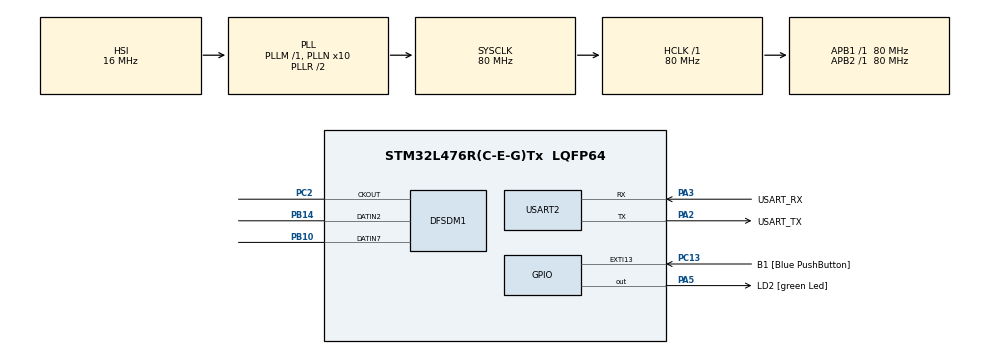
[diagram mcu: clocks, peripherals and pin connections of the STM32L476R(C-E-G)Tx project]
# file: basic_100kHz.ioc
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DFSDM1.Divider=25
DFSDM1.DmaMode_reg_FIL0=ENABLE
DFSDM1.DmaMode_reg_FIL1=ENABLE
DFSDM1.DmaMode_reg_FIL2=ENABLE
DFSDM1.FastMode_reg_FIL0=ENABLE
DFSDM1.FastMode_reg_FIL1=ENABLE
DFSDM1.FastMode_reg_FIL2=ENABLE
DFSDM1.Filter_regChannel_FIL0=DFSDM_CHANNEL_2
DFSDM1.Filter_regChannel_FIL1=DFSDM_CHANNEL_7
DFSDM1.Filter_regChannel_FIL2=DFSDM_CHANNEL_1
DFSDM1.Fosr_FIL0=32
DFSDM1.Fosr_FIL1=32
DFSDM1.Fosr_FIL2=32
DFSDM1.Oversampling_CH1=10
DFSDM1.Oversampling_CH2=10
DFSDM1.Oversampling_CH7=10
DFSDM1.RightBitShift_CH1=0x02
DFSDM1.RightBitShift_CH2=0x02
DFSDM1.RightBitShift_CH7=0x02
DFSDM1.SincOrder_FIL0=DFSDM_FILTER_SINC3_ORDER
DFSDM1.SincOrder_FIL1=DFSDM_FILTER_SINC3_ORDER
DFSDM1.SincOrder_FIL2=DFSDM_FILTER_SINC3_ORDER
DFSDM1.Type_spi_CH1=DFSDM_CHANNEL_SPI_FALLING
DFSDM1.Type_spi_CH7=DFSDM_CHANNEL_SPI_FALLING
Dma.DFSDM1_FLT0.0.Direction=DMA_PERIPH_TO_MEMORY
Dma.DFSDM1_FLT0.0.Instance=DMA1_Channel4
Dma.DFSDM1_FLT0.0.MemDataAlignment=DMA_MDATAALIGN_WORD
Dma.DFSDM1_FLT0.0.MemInc=DMA_MINC_ENABLE
Dma.DFSDM1_FLT0.0.Mode=DMA_CIRCULAR
Dma.DFSDM1_FLT0.0.PeriphDataAlignment=DMA_PDATAALIGN_WORD
Dma.DFSDM1_FLT0.0.PeriphInc=DMA_PINC_DISABLE
Dma.DFSDM1_FLT0.0.Priority=DMA_PRIORITY_MEDIUM
Dma.DFSDM1_FLT1.1.Direction=DMA_PERIPH_TO_MEMORY
Dma.DFSDM1_FLT1.1.Instance=DMA1_Channel5
Dma.DFSDM1_FLT1.1.MemDataAlignment=DMA_MDATAALIGN_WORD
Dma.DFSDM1_FLT1.1.MemInc=DMA_MINC_ENABLE
Dma.DFSDM1_FLT1.1.Mode=DMA_CIRCULAR
Dma.DFSDM1_FLT1.1.PeriphDataAlignment=DMA_PDATAALIGN_WORD
Dma.DFSDM1_FLT1.1.PeriphInc=DMA_PINC_DISABLE
Dma.DFSDM1_FLT1.1.Priority=DMA_PRIORITY_MEDIUM
Dma.DFSDM1_FLT2.2.Direction=DMA_PERIPH_TO_MEMORY
Dma.DFSDM1_FLT2.2.Instance=DMA1_Channel6
Dma.DFSDM1_FLT2.2.MemDataAlignment=DMA_MDATAALIGN_WORD
Dma.DFSDM1_FLT2.2.MemInc=DMA_MINC_ENABLE
Dma.DFSDM1_FLT2.2.Mode=DMA_CIRCULAR
Dma.DFSDM1_FLT2.2.PeriphDataAlignment=DMA_PDATAALIGN_WORD
Dma.DFSDM1_FLT2.2.PeriphInc=DMA_PINC_DISABLE
Dma.DFSDM1_FLT2.2.Priority=DMA_PRIORITY_MEDIUM
Dma.Request0=DFSDM1_FLT0
Dma.Request1=DFSDM1_FLT1
Dma.Request2=DFSDM1_FLT2
Mcu.Family=STM32L4
Mcu.Name=STM32L476R(C-E-G)Tx
Mcu.Package=LQFP64
NVIC.DMA1_Channel4_IRQn=true\:0\:0\:false\:false\:true\:false
NVIC.DMA1_Channel5_IRQn=true\:0\:0\:false\:false\:true\:false
NVIC.DMA1_Channel6_IRQn=true\:0\:0\:false\:false\:true\:false
NVIC.EXTI15_10_IRQn=true\:0\:0\:false\:false\:true\:true
NVIC.PriorityGroup=NVIC_PRIORITYGROUP_4
PA13\ (JTMS-SWDIO).GPIO_Label=TMS
PA13\ (JTMS-SWDIO).Mode=Serial_Wire
PA13\ (JTMS-SWDIO).Signal=SYS_JTMS-SWDIO
PA14\ (JTCK-SWCLK).GPIO_Label=TCK
PA14\ (JTCK-SWCLK).Mode=Serial_Wire
PA14\ (JTCK-SWCLK).Signal=SYS_JTCK-SWCLK
PA2.GPIO_Label=USART_TX
PA2.GPIO_Mode=GPIO_MODE_AF_PP
PA2.GPIO_PuPd=GPIO_NOPULL
PA2.GPIO_Speed=GPIO_SPEED_FREQ_VERY_HIGH
PA2.Mode=Asynchronous
PA2.Signal=USART2_TX
PA3.GPIO_Label=USART_RX
PA3.GPIO_Mode=GPIO_MODE_AF_PP
PA3.GPIO_PuPd=GPIO_NOPULL
PA3.GPIO_Speed=GPIO_SPEED_FREQ_VERY_HIGH
PA3.Mode=Asynchronous
PA3.Signal=USART2_RX
PA5.GPIO_Label=LD2 [green Led]
PA5.GPIO_ModeDefaultOutputPP=GPIO_MODE_OUTPUT_PP
PA5.GPIO_PuPd=GPIO_NOPULL
PA5.GPIO_Speed=GPIO_SPEED_FREQ_LOW
PA5.Signal=GPIO_Output
PB10.Signal=S_DATAIN7DFSDM1
PB14.Signal=S_DATAIN2DFSDM1
PB3\ (JTDO-TRACESWO).GPIO_Label=SWO
PB3\ (JTDO-TRACESWO).Signal=SYS_JTDO-SWO
PC13.GPIO_Label=B1 [Blue PushButton]
PC13.GPIO_ModeDefaultEXTI=GPIO_MODE_IT_FALLING
PC13.GPIO_PuPd=GPIO_NOPULL
PC13.Signal=GPXTI13
PC14-OSC32_IN\ (PC14).Signal=RCC_OSC32_IN
PC15-OSC32_OUT\ (PC15).Signal=RCC_OSC32_OUT
PC2.Signal=S_CKOUTDFSDM1
PH0-OSC_IN\ (PH0).Signal=RCC_OSC_IN
PH1-OSC_OUT\ (PH1).Signal=RCC_OSC_OUT
ProjectManager.HeapSize=0x200
ProjectManager.StackSize=0x400
ProjectManager.TargetToolchain=TrueSTUDIO
RCC.ADCFreq_Value=64000000
RCC.AHBFreq_Value=80000000
RCC.APB1Freq_Value=80000000
RCC.APB1TimFreq_Value=80000000
RCC.APB2Freq_Value=80000000
RCC.APB2TimFreq_Value=80000000
RCC.CortexFreq_Value=80000000
RCC.HCLKFreq_Value=80000000
RCC.HSE_VALUE=8000000
RCC.HSI_VALUE=16000000
RCC.LSE_VALUE=32768
RCC.MSI_VALUE=4000000
RCC.PLLN=10
RCC.PLLSourceVirtual=RCC_PLLSOURCE_HSI
RCC.PREFETCH_ENABLE=1
RCC.SYSCLKFreq_VALUE=80000000
RCC.SYSCLKSource=RCC_SYSCLKSOURCE_PLLCLK
RCC.USBFreq_Value=64000000
RCC.VCOOutputFreq_Value=160000000
SH.S_CKOUTDFSDM1.0=DFSDM1_CKOUT,PDM_SPI_input_from_ch2_and_internal_clock
SH.S_CKOUTDFSDM1.1=DFSDM1_CKOUT,CKOUT
SH.S_CKOUTDFSDM1.2=DFSDM1_CKOUT,PDM_SPI_input_from_ch7_and_internal_clock
SH.S_CKOUTDFSDM1.3=DFSDM1_CKOUT,PDM_SPI_Input_from_ch12_and_Internal_Clock
SH.S_DATAIN2DFSDM1.0=DFSDM1_DATIN2,PDM_SPI_input_from_ch2_and_internal_clock
SH.S_DATAIN2DFSDM1.1=DFSDM1_DATIN2,PDM_SPI_Input_from_ch12_and_Internal_Clock
SH.S_DATAIN7DFSDM1.0=DFSDM1_DATIN7,PDM_SPI_input_from_ch7_and_internal_clock
USART2.VirtualMode-Asynchronous=VM_ASYNC
USART2.WordLength=WORDLENGTH_8B
board=NUCLEO-L476RG

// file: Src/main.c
/**
  ******************************************************************************
  * @file           : main.c
  * @brief          : Main program body
  ******************************************************************************
  ** This notice applies to any and all portions of this file
  * that are not between comment pairs USER CODE BEGIN and
  * USER CODE END. Other portions of this file, whether
  * inserted by the user or by software development tools
  * are owned by their respective copyright owners.
  *
  * COPYRIGHT(c) 2018 STMicroelectronics
  *
  * Redistribution and use in source and binary forms, with or without modification,
  * are permitted provided that the following conditions are met:
  *   1. Redistributions of source code must retain the above copyright notice,
  *      this list of conditions and the following disclaimer.
  *   2. Redistributions in binary form must reproduce the above copyright notice,
  *      this list of conditions and the following disclaimer in the documentation
  *      and/or other materials provided with the distribution.
  *   3. Neither the name of STMicroelectronics nor the names of its contributors
  *      may be used to endorse or promote products derived from this software
  *      without specific prior written permission.
  *
  * THIS SOFTWARE IS PROVIDED BY THE COPYRIGHT HOLDERS AND CONTRIBUTORS "AS IS"
  * AND ANY EXPRESS OR IMPLIED WARRANTIES, INCLUDING, BUT NOT LIMITED TO, THE
  * IMPLIED WARRANTIES OF MERCHANTABILITY AND FITNESS FOR A PARTICULAR PURPOSE ARE
  * DISCLAIMED. IN NO EVENT SHALL THE COPYRIGHT HOLDER OR CONTRIBUTORS BE LIABLE
  * FOR ANY DIRECT, INDIRECT, INCIDENTAL, SPECIAL, EXEMPLARY, OR CONSEQUENTIAL
  * DAMAGES (INCLUDING, BUT NOT LIMITED TO, PROCUREMENT OF SUBSTITUTE GOODS OR
  * SERVICES; LOSS OF USE, DATA, OR PROFITS; OR BUSINESS INTERRUPTION) HOWEVER
  * CAUSED AND ON ANY THEORY OF LIABILITY, WHETHER IN CONTRACT, STRICT LIABILITY,
  * OR TORT (INCLUDING NEGLIGENCE OR OTHERWISE) ARISING IN ANY WAY OUT OF THE USE
  * OF THIS SOFTWARE, EVEN IF ADVISED OF THE POSSIBILITY OF SUCH DAMAGE.
  *
  ******************************************************************************
  */
#include "main.h"
#include "stm32l4xx_hal.h"
#include "dfsdm.h"
#include "dma.h"
#include "usart.h"
#include "gpio.h"

/* USER CODE BEGIN Includes */
#include "math.h"
#include "stdbool.h"
#include "arm_math.h"
/* USER CODE END Includes */

/* USER CODE BEGIN PV */
/* Private variables ---------------------------------------------------------*/

// Flags to indicate ISR to copy data from buffer to PCM data store for FFT
char M1[] = "M1";    // MEMS mic 1

#ifdef M2_MULTIPREX
  char M2[] = "M2A";  // MEMS mic 2 on the same PDM line as M1 uses.
#else
  char M2[] = "M2B";  // MEMS mic 2 on the other PDM line
#endif

char *mic_select;
bool flag_m1 = true;
bool flag_m2 = true;

// Audio sample rate and period
float sample_rate;
float sample_period;

// DMA peripheral to memory buffer
int32_t buf_m1[FFT_SAMPLES] = { 0 };
int32_t buf_m2[FFT_SAMPLES] = { 0 };

// PCM data store for further processing (FFT)
int32_t pcm_m1[FFT_SAMPLES] = { 0 };
int32_t pcm_m2[FFT_SAMPLES] = { 0 };

// FFT
arm_rfft_fast_instance_f32 S;
float32_t fft_input[FFT_SAMPLES] = { 0.0f };
float32_t fft_hanning[FFT_SAMPLES] = { 0.0f };
float32_t fft_output[FFT_SAMPLES] = { 0.0f };
float fft_magnitude[FFT_SAMPLES / 2] = { 0.0f };
float fft_db[FFT_SAMPLES / 2] = { 0.0f };
float fft_frequency[FFT_SAMPLES / 2] = { 0.0f };
float fft_window[FFT_SAMPLES] = { 0.0f };
const float WINDOW_SCALE = 2.0f * M_PI / (float) FFT_SAMPLES;

// UART output flag
bool output_result = false;
/* USER CODE END PV */

void SystemClock_Config(void);

/* USER CODE BEGIN PFP */
/* Private function prototypes -----------------------------------------------*/

/* USER CODE END PFP */

/* USER CODE BEGIN 0 */
void fft(void) {
  // Windowing
  arm_mult_f32(fft_input, fft_window, fft_input, FFT_SAMPLES);
  for(uint32_t i = 0; i < FFT_SAMPLES; i++) {
    fft_hanning[i] = fft_input[i];
  }

  // Execute FFT
  // Note: this function modifies fft_input as well.
  arm_rfft_fast_f32(&S, fft_input, fft_output, 0);

  // Calculate magnitude
  arm_cmplx_mag_f32(fft_output, fft_magnitude, FFT_SAMPLES / 2);

  // Normalization (Unitary transformation) of magnitude
  arm_scale_f32(fft_magnitude, 1.0f / sqrtf((float) FFT_SAMPLES), fft_magnitude,
      FFT_SAMPLES / 2);

  // AC coupling
  for (uint32_t i = 0; i < FFT_SAMPLES / 2; i++) {
    if (*(fft_frequency + i) < FFT_AC_COUPLING_HZ)
      fft_magnitude[i] = 1.0f;
    else
      break;
  }

  float inv_dB_base_mag = 1.0f / 1.0f;
  for (uint32_t i = 0; i < FFT_SAMPLES / 2; i++)
    fft_db[i] = 10.0f * log10f(fft_magnitude[i] * inv_dB_base_mag);

  // Calculate max magnitude
  float mag_max, frq_max;
  uint32_t maxIndex;
  arm_max_f32(fft_magnitude, FFT_SAMPLES / 2, &mag_max, &maxIndex);
  frq_max = *(fft_frequency + maxIndex);

  // Output result to UART when user button is pressed
  if (output_result) {
    printf("\nMEMS mic: %s\n", mic_select);
    printf("Frequency at max magnitude: %.1f, Max magnitude: %f\n", frq_max,
        mag_max);
    printf("Frequency(Hz),Magnitude,Magnitude(dB)\n");
    // FFT
    for (uint32_t i = 0; i < FFT_SAMPLES / 2; i++) {
      printf("%.1f,%f,%f\n", fft_frequency[i], fft_magnitude[i], fft_db[i]);
    }
    printf("\n");
    // Raw PCM data
    printf("Index,Amplitude\n");
    if (mic_select == M1) {
      for (uint32_t i = 0; i < FFT_SAMPLES; i++) {
        printf("%lu,%ld\n", i, pcm_m1[i]);
      }
    } else {
      for (uint32_t i = 0; i < FFT_SAMPLES; i++) {
        printf("%lu,%ld\n", i, pcm_m2[i]);
      }
    }
    printf("EORAW\n");
    // Filtered PCM data (e.g., Hanning Window)
    printf("Index,Amplitude\n");
    for (uint32_t i = 0; i < FFT_SAMPLES; i++) {
      printf("%lu,%f\n", i, fft_hanning[i]);
    }
    printf("EOFLT\n");
    HAL_GPIO_WritePin(LD2_GPIO_Port, LD2_Pin, GPIO_PIN_RESET);
    output_result = false;
  }
}
/* USER CODE END 0 */

int main(void)
{

  /* MCU Configuration----------------------------------------------------------*/

  /* Reset of all peripherals, Initializes the Flash interface and the Systick. */
  HAL_Init();

  /* Configure the system clock */
  SystemClock_Config();

  /* Initialize all configured peripherals */
  MX_GPIO_Init();
  MX_DMA_Init();
  MX_USART2_UART_Init();
  MX_DFSDM1_Init();
  /* USER CODE BEGIN 2 */

  // DMA from DFSDM to buf_m1
  if (HAL_DFSDM_FilterRegularStart_DMA(&hdfsdm1_filter0, buf_m1, FFT_SAMPLES)
      != HAL_OK) {
    Error_Handler();
  }
#ifdef M2_MULTIPREX
  // DMA from DFSDM to buf_m2
  if (HAL_DFSDM_FilterRegularStart_DMA(&hdfsdm1_filter2, buf_m2, FFT_SAMPLES)
      != HAL_OK) {
    Error_Handler();
  }
#else
  // DMA from DFSDM to buf_m2
  if (HAL_DFSDM_FilterRegularStart_DMA(&hdfsdm1_filter1, buf_m2, FFT_SAMPLES)
      != HAL_OK) {
    Error_Handler();
  }
#endif

  // FFT sample rate
  sample_rate = SystemCoreClock / hdfsdm1_channel2.Init.OutputClock.Divider
      / hdfsdm1_filter0.Init.FilterParam.Oversampling
      / hdfsdm1_filter0.Init.FilterParam.IntOversampling;

  // Output basic info
  printf("/// Audio Spectrum Analyzer ///\n\n");
  printf("Sampling rate: %4.1f(kHz)\n", (float) sample_rate / 1000.0f);
  sample_period = 1.0f / sample_rate * FFT_SAMPLES;
  printf("Sampling period: %.1f(msec), Samples per period: %ld\n\n",
      sample_period * 1000.0f, FFT_SAMPLES);
  printf("Push USER button to output single-shot FFT\n");

  // Hanning window
  for (uint32_t i = 0; i < FFT_SAMPLES; i++) {
    fft_window[i] = 0.5f - 0.5f * arm_cos_f32((float)i * WINDOW_SCALE);
  }

  for (uint32_t i = 0; i < FFT_SAMPLES / 2; i++) {
    fft_frequency[i] = (float)i * (float)sample_rate / (float)FFT_SAMPLES;
  }

  // FFT initialization
  arm_rfft_fast_init_f32(&S, FFT_SAMPLES);
  /* USER CODE END 2 */

  /* Infinite loop */
  /* USER CODE BEGIN WHILE */
  while (1) {

    // Wait for next PCM samples from M1
    if (!flag_m1) {
      for (uint32_t i = 0; i < FFT_SAMPLES; i++) {
        fft_input[i] = (float) pcm_m1[i];
      }
      mic_select = M1;
      fft();
      flag_m1 = true;
    }
    // Wait for next PCM samples from M2
    if (!flag_m2) {
      for (uint32_t i = 0; i < FFT_SAMPLES; i++) {
        fft_input[i] = (float) pcm_m2[i];
      }
      mic_select = M2;
      fft();
      flag_m2 = true;
    }
  /* USER CODE END WHILE */

  }

}

void SystemClock_Config(void)
{

  RCC_OscInitTypeDef RCC_OscInitStruct;
  RCC_ClkInitTypeDef RCC_ClkInitStruct;
  RCC_PeriphCLKInitTypeDef PeriphClkInit;

    /**Initializes the CPU, AHB and APB busses clocks
    */
  RCC_OscInitStruct.OscillatorType = RCC_OSCILLATORTYPE_HSI;
  RCC_OscInitStruct.HSIState = RCC_HSI_ON;
  RCC_OscInitStruct.HSICalibrationValue = 16;
  RCC_OscInitStruct.PLL.PLLState = RCC_PLL_ON;
  RCC_OscInitStruct.PLL.PLLSource = RCC_PLLSOURCE_HSI;
  RCC_OscInitStruct.PLL.PLLM = 1;
  RCC_OscInitStruct.PLL.PLLN = 10;
  RCC_OscInitStruct.PLL.PLLP = RCC_PLLP_DIV7;
  RCC_OscInitStruct.PLL.PLLQ = RCC_PLLQ_DIV2;
  RCC_OscInitStruct.PLL.PLLR = RCC_PLLR_DIV2;
  if (HAL_RCC_OscConfig(&RCC_OscInitStruct) != HAL_OK)
  {
    _Error_Handler(__FILE__, __LINE__);
  }

    /**Initializes the CPU, AHB and APB busses clocks
    */
  RCC_ClkInitStruct.ClockType = RCC_CLOCKTYPE_HCLK|RCC_CLOCKTYPE_SYSCLK
                              |RCC_CLOCKTYPE_PCLK1|RCC_CLOCKTYPE_PCLK2;
  RCC_ClkInitStruct.SYSCLKSource = RCC_SYSCLKSOURCE_PLLCLK;
  RCC_ClkInitStruct.AHBCLKDivider = RCC_SYSCLK_DIV1;
  RCC_ClkInitStruct.APB1CLKDivider = RCC_HCLK_DIV1;
  RCC_ClkInitStruct.APB2CLKDivider = RCC_HCLK_DIV1;

  if (HAL_RCC_ClockConfig(&RCC_ClkInitStruct, FLASH_LATENCY_4) != HAL_OK)
  {
    _Error_Handler(__FILE__, __LINE__);
  }

  PeriphClkInit.PeriphClockSelection = RCC_PERIPHCLK_USART2|RCC_PERIPHCLK_DFSDM1;
  PeriphClkInit.Usart2ClockSelection = RCC_USART2CLKSOURCE_PCLK1;
  PeriphClkInit.Dfsdm1ClockSelection = RCC_DFSDM1CLKSOURCE_PCLK;
  if (HAL_RCCEx_PeriphCLKConfig(&PeriphClkInit) != HAL_OK)
  {
    _Error_Handler(__FILE__, __LINE__);
  }

    /**Configure the main internal regulator output voltage
    */
  if (HAL_PWREx_ControlVoltageScaling(PWR_REGULATOR_VOLTAGE_SCALE1) != HAL_OK)
  {
    _Error_Handler(__FILE__, __LINE__);
  }

    /**Configure the Systick interrupt time
    */
  HAL_SYSTICK_Config(HAL_RCC_GetHCLKFreq()/1000);

    /**Configure the Systick
    */
  HAL_SYSTICK_CLKSourceConfig(SYSTICK_CLKSOURCE_HCLK);

  /* SysTick_IRQn interrupt configuration */
  HAL_NVIC_SetPriority(SysTick_IRQn, 0, 0);
}

/* USER CODE BEGIN 4 */

/**
 * @brief  Half regular conversion complete callback.
 * @param  hdfsdm_filter : DFSDM filter handle.
 * @retval None
 */
void HAL_DFSDM_FilterRegConvHalfCpltCallback(
    DFSDM_Filter_HandleTypeDef *hdfsdm_filter) {
/*
  uint32_t end = FFT_SAMPLES/2;
  if (flag_m1 && (hdfsdm_filter == &hdfsdm1_filter0)) {
    for (uint32_t i = 0; i < end; i++) {
      pcm_m1[i] = buf_m1[i];
    }
    flag_m1 = false;
#ifdef M2_MULTIPREX
  } else if (flag_m2 && (hdfsdm_filter == &hdfsdm1_filter2)) {
    for (uint32_t i = 0; i < end; i++) {
      pcm_m2[i] = buf_m2[i];
    }
    flag_m2 = false;
  }
#else
  } else if  (flag_m2 && (hdfsdm_filter == &hdfsdm1_filter1)) {
    for (uint32_t i = 0; i < end; i++) {
      pcm_m2[i] = buf_m2[i];
    }
    flag_m2 = false;
  }
#endif
*/
}

/**
 * @brief  Regular conversion complete callback.
 * @note   In interrupt mode, user has to read conversion value in this function
 using HAL_DFSDM_FilterGetRegularValue.
 * @param  hdfsdm_filter : DFSDM filter handle.
 * @retval None
 */
void HAL_DFSDM_FilterRegConvCpltCallback(
    DFSDM_Filter_HandleTypeDef *hdfsdm_filter) {
  // uint32_t start = FFT_SAMPLES / 2;
  uint32_t start = 0;
  if (flag_m1 && (hdfsdm_filter == &hdfsdm1_filter0)) {
    for (uint32_t i = start; i < FFT_SAMPLES; i++) {
      pcm_m1[i] = buf_m1[i];
    }
    flag_m1 = false;
#ifdef M2_MULTIPREX
  } else if (flag_m2 && (hdfsdm_filter == &hdfsdm1_filter2)) {
    for (uint32_t i = start; i < FFT_SAMPLES; i++) {
      pcm_m2[i] = buf_m2[i];
    }
    flag_m2 = false;
  }
#else
  } else if  (flag_m2 && (hdfsdm_filter == &hdfsdm1_filter1)) {
    for (uint32_t i = start; i < FFT_SAMPLES; i++) {
      pcm_m2[i] = buf_m2[i];
    }
    flag_m2 = false;
  }
#endif
}

/**
 * @brief  Retargets the C library printf function to the USART.
 * @param  None
 * @retval None
 */
int _write(int file, char *ptr, int len) {
  HAL_UART_Transmit(&huart2, (uint8_t *) ptr, (uint16_t) len, 0xFFFFFFFF);
  return len;
}

/**
 * @brief  GPIO External Interrupt callback
 * @param  GPIO_Pin
 * @retval None
 */
void HAL_GPIO_EXTI_Callback(uint16_t GPIO_Pin) {
  if (GPIO_Pin == GPIO_PIN_13) {  // User button (blue tactile switch)
    HAL_GPIO_WritePin(LD2_GPIO_Port, LD2_Pin, GPIO_PIN_SET);
    output_result = true;
  }
}
/* USER CODE END 4 */

void _Error_Handler(char *file, int line)
{
  while (1) {
  }
}

/************************ (C) COPYRIGHT STMicroelectronics *****END OF FILE****/
